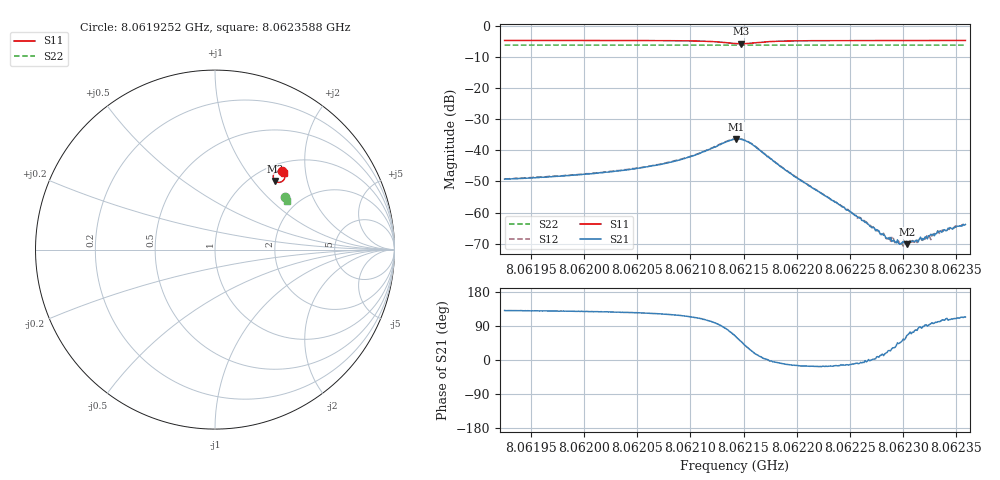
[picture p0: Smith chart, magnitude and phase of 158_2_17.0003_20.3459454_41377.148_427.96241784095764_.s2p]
#  HZ  S  RI  R  50.00
! Rohde & Schwarz Vector Network Analyzer
! Rohde-Schwarz,ZNB20-2Port,1311601062101988,3.16
! Created: UTC 3/20/2024, 10:59:08 PM
! freq[Hz]  re:S11  im:S11  re:S21  im:S21  re:S12  im:S12  re:S22  im:S22
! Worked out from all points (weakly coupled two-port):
!   401 points, 8.0619252 GHz to 8.0623588 GHz, reference 50 ohm
!   highest |S21| = -36.39 dB at 8.0621431 GHz (marker M1); lowest = -70.2 dB at 8.0623035 GHz (marker M2)
!   lowest |S11| = -5.9 dB at 8.0621474 GHz (marker M3), VSWR 3.07, Z = 63.1 + j65.1 ohm
!   |S11| at or under -10 dB: nowhere
!   |S22| runs from -6.3 to -6.3 dB; largest |S21 - S12| = 0.0011
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8.06192519e9  0.3714 0.4399  -0.00223 0.0026  -0.00212 0.00277  0.3873 0.2927
8.06199782e9  0.3774 0.4341  -0.00254 0.00317  -0.00234 0.00339  0.3897 0.289
8.06203902e9  0.3815 0.4291  -0.0028 0.0039  -0.0026 0.00411  0.3913 0.2869
8.06207045e9  0.3854 0.4231  -0.0031 0.00497  -0.0028 0.00519  0.3922 0.2851
8.06210297e9  0.389 0.4101  -0.00312 0.00755  -0.0027 0.00782  0.3933 0.2828
8.06212682e9  0.3821 0.3871  -0.000712 0.0121  4.29e-05 0.0123  0.3934 0.281
8.062142e9  0.3508 0.3751  0.00662 0.0134  0.00759 0.0131  0.3923 0.2803
8.06214308e9  0.3476 0.376  0.00743 0.0132  0.0083 0.0129  0.3922 0.2804
8.06214742e9  0.3358 0.3825  0.00972 0.0114  0.0105 0.0109  0.3919 0.2806
8.06215826e9  0.3246 0.4111  0.0114 0.00476  0.0118 0.00407  0.3922 0.2815
8.06218644e9  0.3505 0.439  0.00517 -0.000861  0.00515 -0.0012  0.3947 0.281
8.06221463e9  0.3647 0.4386  0.00239 -0.000703  0.00236 -0.000863  0.3961 0.2794
8.06226124e9  0.375 0.4348  0.000742 -0.0001  0.000777 -0.000145  0.398 0.277
8.0622775e9  0.3774 0.4335  0.000496 6.65e-05  0.0005 5.4e-05  0.3986 0.2762
8.06228726e9  0.3785 0.4328  0.000336 0.000156  0.000364 0.00016  0.3988 0.2756
8.06228943e9  0.3788 0.4328  0.0003 0.000168  0.000351 0.000179  0.3989 0.2755
8.0622981e9  0.3797 0.4321  0.000215 0.000235  0.000205 0.000216  0.3993 0.2751
8.06230352e9  0.3803 0.4316  0.000136 0.000278  0.000174 0.000299  0.3993 0.2746
8.06231219e9  0.3812 0.4309  6.62e-05 0.00035  6.68e-05 0.000355  0.3997 0.2743
8.06232737e9  0.3826 0.4298  -6.18e-05 0.000434  -4.24e-05 0.000429  0.4003 0.2735
8.06233821e9  0.3836 0.4292  -0.000137 0.000503  -0.000116 0.000493  0.4005 0.273
8.0623588e9  0.3852 0.4279  -0.000255 0.00059  -0.000215 0.000602  0.4013 0.272
